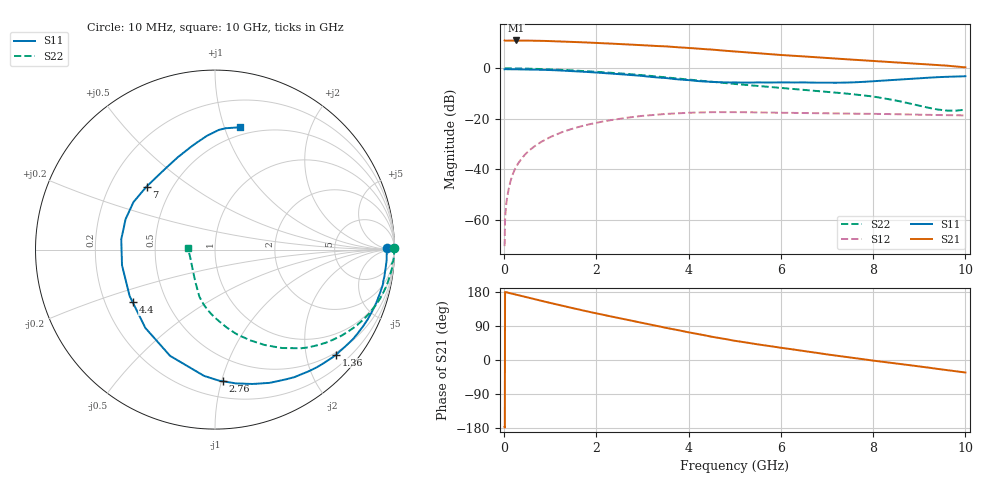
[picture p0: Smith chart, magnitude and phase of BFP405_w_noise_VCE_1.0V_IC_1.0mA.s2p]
! Infineon Technologies  Discrete & RF Semiconductors
! BFP405
! VCE =  1.0 V,  IC =  1.0 mA
! Common Emitter S-Parameters:  Jan 2016
# GHz  S  MA  R  50
!  f  S11  S21  S12  S22
! GHz  MAG  ANG  MAG  ANG  MAG  ANG  MAG  ANG
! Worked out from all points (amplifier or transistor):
!   233 points, 10 MHz to 10 GHz, reference 50 ohm
!   highest |S21| = 11.0 dB at 260 MHz (marker M1)
!   |S21| within 3 dB of that: start of sweep to 4.04 GHz
!   unconditionally stable (mu >= 1): 5.109 GHz to end of sweep
!   at 200 MHz: K = 0.02, MSG = 26.1 dB, |S12| = -41.3 dB
!   at 1.74 GHz: K = 0.23, MSG = 16.5 dB, |S12| = -22.6 dB
!   at 10 GHz: K = 2.05, MAG = 3.7 dB, |S12| = -18.7 dB
!   lowest NFmin = 0.74 dB at 900 MHz
!   S11 on the Smith chart (normalised r, x): 10 MHz: 43, +7; 1.36 GHz: 0.45, -2.61; 2.76 GHz: 0.32, -1.01; 4.4 GHz: 0.32, -0.27; 7 GHz: 0.36, +0.35; 10 GHz: 0.43, +1.13
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0.01  0.9559 0.4  3.554 -176.8  0.0003 41.1  1 0.6
0.02  0.9608 -0.3  3.522 179.4  0.001 86.7  0.9949 0.1
0.04  0.9583 -1.0  3.517 179.1  0.0018 89.6  0.997 -0.4
0.065  0.9575 -1.8  3.523 178.3  0.0028 88.9  0.9981 -1.0
0.145  0.9575 -4.2  3.545 175.9  0.0062 87.4  0.9962 -2.6
0.26  0.9552 -7.6  3.559 172.4  0.0112 85.8  0.9888 -4.8
0.66  0.9439 -19.6  3.51 160.6  0.0286 78.9  0.9761 -11.9
1.04  0.9201 -31.1  3.451 149.4  0.0451 71.7  0.9495 -18.6
1.36  0.8924 -41.0  3.369 140.4  0.0587 65.5  0.9205 -24.1
1.68  0.8605 -51.0  3.28 131.6  0.0715 59.2  0.8876 -29.3
2.2  0.8022 -67.8  3.119 117.9  0.0904 49.2  0.8296 -37.1
2.76  0.7349 -86.7  2.947 103.7  0.1077 38.7  0.7616 -45.3
3.4  0.6501 -109.0  2.74 87.7  0.1225 26.8  0.6766 -54.2
4  0.5839 -131.7  2.538 73.0  0.1318 16.5  0.5991 -62.5
4.4  0.5444 -147.3  2.379 63.9  0.1343 10.1  0.5517 -67.6
5.1  0.5222 -173.5  2.117 48.9  0.1352 0.5  0.481 -76.2
6  0.5263 161.2  1.836 32.3  0.1318 -8.8  0.4097 -85.3
6.8  0.5184 142.4  1.645 18.5  0.1289 -14.9  0.3556 -93.9
7  0.5183 137.4  1.603 14.8  0.1282 -16.3  0.3428 -96.2
8.4  0.5855 103.7  1.324 -7.8  0.1235 -25.3  0.239 -114.7
9.4  0.667 88.2  1.164 -23.5  0.1187 -29.5  0.1525 -148.6
10  0.696 78.3  1.043 -33.0  0.1166 -31.0  0.1513 176.6
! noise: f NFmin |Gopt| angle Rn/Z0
0.9  0.74  0.71  15  0.57
1.8  1.18  0.58  32  0.51
2.4  1.45  0.48  44  0.46
3  1.56  0.48  58  0.43
4  1.81  0.35  86  0.3
5  2.13  0.33  122  0.21
